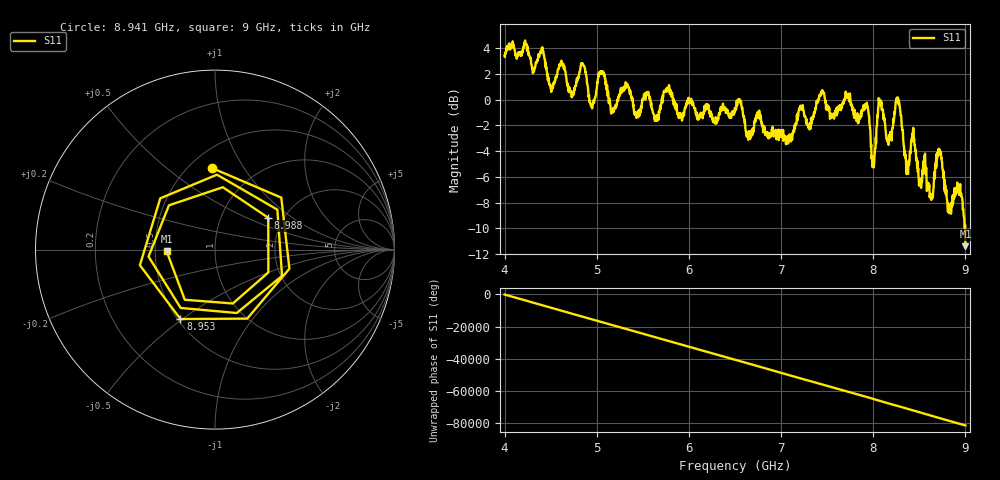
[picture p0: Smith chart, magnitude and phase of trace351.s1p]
! Created with skrf 1.8.0 (http://scikit-rf.org).
# Hz S RI R 50.0
!freq ReS11 ImS11
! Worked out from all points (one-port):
!   1601 points, 4 GHz to 9 GHz, reference 50 ohm
!   lowest |S11| = -11.4 dB at 9 GHz (marker M1), VSWR 1.74, Z = 28.8 - j0.649 ohm
!   |S11| at or under -10 dB: 8.997488 GHz to end of sweep
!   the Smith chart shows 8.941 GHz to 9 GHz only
!   S11 on the Smith chart (normalised r, x): 8.941 GHz: 0.64, +0.73; 8.953 GHz: 0.52, -0.49; 8.988 GHz: 1.67, +0.67; 9 GHz: 0.58, -0.01
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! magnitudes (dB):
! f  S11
! 4 GHz  3.4
! 4.406 GHz  4.1
! 4.509 GHz  0.8
! 4.625 GHz  2.9
! 4.731 GHz  0.3
! 4.853 GHz  2.7
! 4.944 GHz  -0.5
! 5.05 GHz  2.2
! 5.166 GHz  -0.9
! 5.25 GHz  0.3
! 5.875 GHz  -1.1
! 6.5 GHz  -0.7
! 7.125 GHz  -2.6
! 7.75 GHz  0.2
! 7.931 GHz  -0.2
! 8 GHz  -4.7
! 8.069 GHz  -0.1
! 8.166 GHz  -3.5
! 8.266 GHz  0.0
! 8.375 GHz  -5.6
! 8.438 GHz  -2.5
! 8.631 GHz  -7.5
! 8.719 GHz  -3.9
! 8.822 GHz  -8.8
! 8.941 GHz  -6.8
! 8.953 GHz  -7.3
! 8.988 GHz  -9.2
! 9 GHz  -11.4
